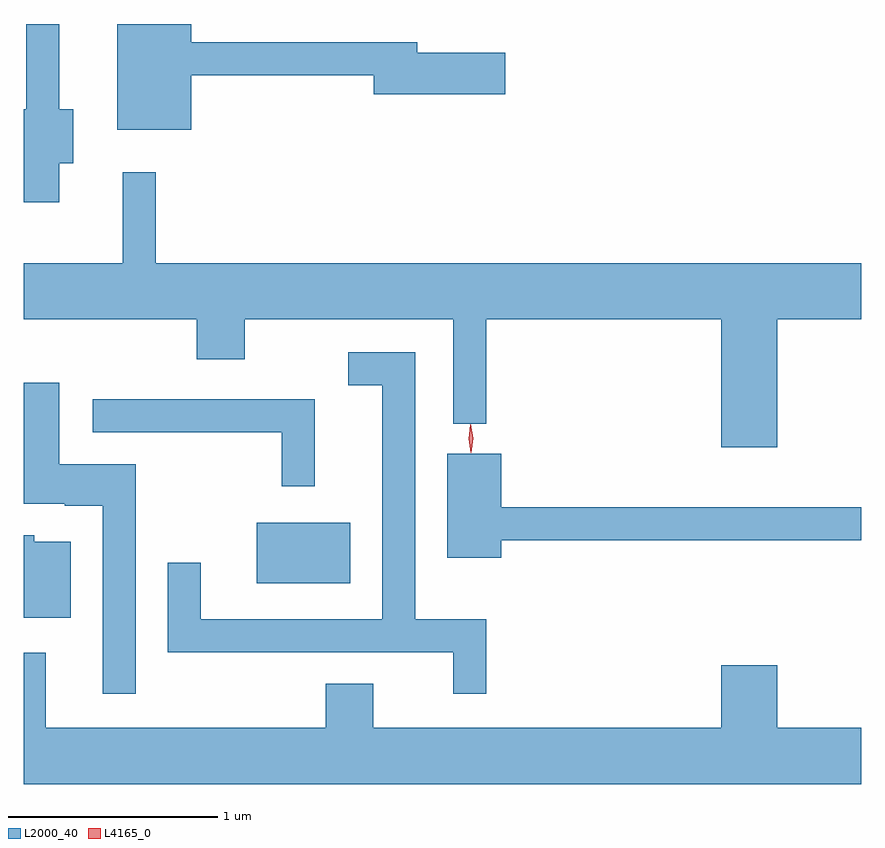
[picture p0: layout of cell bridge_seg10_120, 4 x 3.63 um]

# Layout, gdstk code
import gdstk
lib = gdstk.Library(unit=1e-6, precision=1e-09)
def R(c, l, rs):  # rectangles x0, y0, x1, y1
    for r in rs: c.add(gdstk.rectangle(r[:2], r[2:], *l))
def P(c, l, *ps):  # polygons
    for p in ps: c.add(gdstk.Polygon(p, *l))
L2000_40 = (2000, 40)
L4165_0 = (4165, 0)

bridge_seg10_120 = lib.new_cell('bridge_seg10_120')
R(bridge_seg10_120, L2000_40, [(1571.496,2139.296,1571.944,2139.584)])
P(bridge_seg10_120, L2000_40, [(1570.554,2141.301),(1570.619,2141.301),(1570.619,2141.559),(1570.554,2141.559),(1570.554,2141.967),(1570.396,2141.967),(1570.396,2141.559),(1570.384,2141.559),(1570.384,2141.116),(1570.554,2141.116)],
  [(1571.184,2141.721),(1572.056,2141.721),(1572.056,2141.631),(1572.684,2141.631),(1572.684,2141.829),(1572.264,2141.829),(1572.264,2141.879),(1571.184,2141.879),(1571.184,2141.967),(1570.831,2141.967),(1570.831,2141.461),(1571.184,2141.461)],
  [(1573.984,2140.556),(1574.384,2140.556),(1574.384,2140.824),(1571.014,2140.824),(1571.014,2141.258),(1570.856,2141.258),(1570.856,2140.824),(1570.384,2140.824),(1570.384,2140.556),(1571.211,2140.556),(1571.211,2140.366),(1571.439,2140.366),(1571.439,2140.556),(1572.436,2140.556),(1572.436,2140.058),(1572.594,2140.058),(1572.594,2140.556),(1573.716,2140.556),(1573.716,2139.946),(1573.984,2139.946)],
  [(1572.594,2139.124),(1572.254,2139.124),(1572.254,2140.399),(1571.933,2140.399),(1571.933,2140.241),(1572.096,2140.241),(1572.096,2139.124),(1571.229,2139.124),(1571.229,2139.393),(1571.071,2139.393),(1571.071,2138.966),(1572.436,2138.966),(1572.436,2138.768),(1572.594,2138.768)],
  [(1570.919,2139.864),(1570.554,2139.864),(1570.554,2140.254),(1570.384,2140.254),(1570.384,2139.676),(1570.58,2139.676),(1570.58,2139.666),(1570.761,2139.666),(1570.761,2138.768),(1570.919,2138.768)],
  [(1571.774,2140.174),(1570.713,2140.174),(1570.713,2140.016),(1571.616,2140.016),(1571.616,2139.758),(1571.774,2139.758)],
  [(1572.664,2139.501),(1574.384,2139.501),(1574.384,2139.659),(1572.664,2139.659),(1572.664,2139.914),(1572.406,2139.914),(1572.406,2139.416),(1572.664,2139.416)],
  [(1570.609,2139.494),(1570.434,2139.494),(1570.434,2139.524),(1570.384,2139.524),(1570.384,2139.131),(1570.609,2139.131)],
  [(1574.384,2138.604),(1573.984,2138.604),(1573.984,2138.904),(1573.716,2138.904),(1573.716,2138.604),(1572.054,2138.604),(1572.054,2138.814),(1571.826,2138.814),(1571.826,2138.604),(1570.489,2138.604),(1570.489,2138.964),(1570.384,2138.964),(1570.384,2138.336),(1574.384,2138.336)])
P(bridge_seg10_120, L4165_0, [(1572.52,2139.918),(1572.51,2139.986),(1572.518,2140.055),(1572.518,2140.055),(1572.519,2140.055),(1572.53,2139.987),(1572.521,2139.918),(1572.521,2139.918)],
  [(1572.521,2139.92),(1572.52,2139.921),(1572.509,2139.986),(1572.516,2140.052),(1572.517,2140.052),(1572.517,2140.052),(1572.529,2139.986),(1572.521,2139.921)])

lib.write_gds('bridge_seg10_120.gds')
